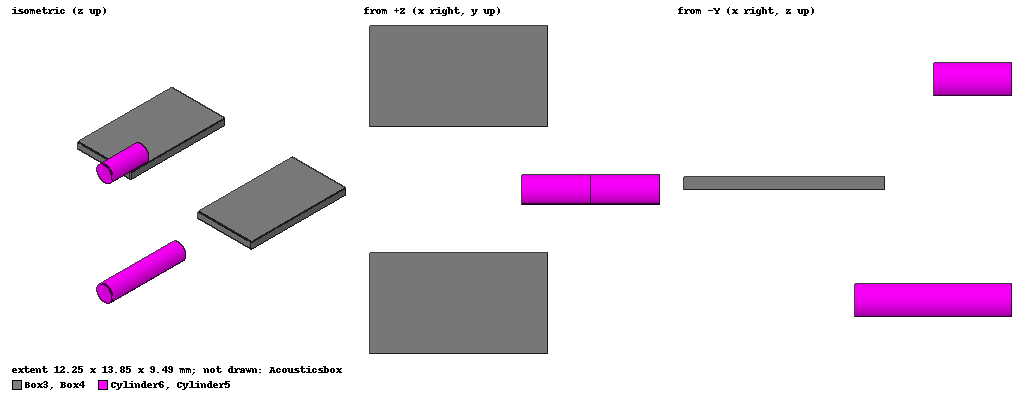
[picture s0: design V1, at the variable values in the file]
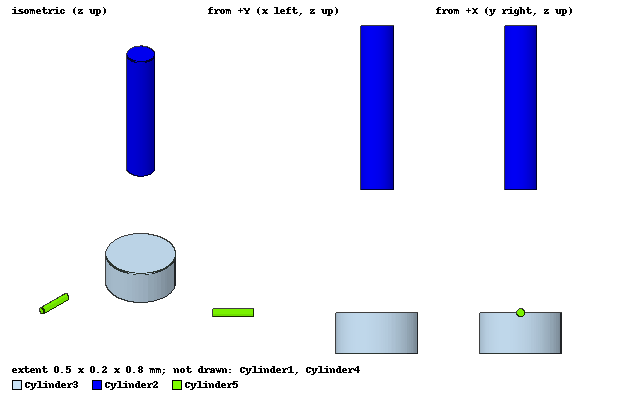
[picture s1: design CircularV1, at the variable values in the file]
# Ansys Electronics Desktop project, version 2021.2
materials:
  copper: permeability=0.999991 conductivity=58000000
  FR4_epoxy: permittivity=4.4 dielectric_loss_tangent=0.02
  vacuum: permittivity=1
  perfect conductor: conductivity=1e+30
  sapphire: permittivity=10
  quartz_glass: permittivity=3.78

design V1 (HFSS, Eigenmode, model units mm)
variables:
  Boxx = 5mm
  Boxy = 25mm
  Boxz = 16.5mm
  Cylh = 6mm
  Chipx = 8.6mm
  Chipy = 4.8mm
  Chiph = 0.5mm
  dispy = 0mm
  PadLen = 0.2mm
  PadWid = 0.1mm
  Padsep = 0.08mm
  JuncW = 0.005mm
  JuncL = 0.005mm
  LJ = 12.57nH
  QubitYoff = 4.8mm
  QubitXoff = 0mm
  QubitZoff = 0mm
  AcoustYoff = -4.8mm
  AcoustXoff = 0mm
  AcoustZoff = 0mm
  APadL = 0.2mm
  APadW = 0.1mm
  APadsep = 0.08mm
  SnailW = 0.005mm
  SnailArea = 0.02mm
  LJSnailS = 2.9nH
  LJSnailM = 2.4nH
  SnailOff = 0.012mm
  AcousticsC = 60fF
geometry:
  Cavity = box(corner=(-Boxx/2, -Boxy/2, -Boxz/2), size=(Boxx, Boxy, Boxz))
  Cylinder1 = cylinder(axis=Z, base_centre=(0, Boxy/2, -Boxz/2), radius=Boxx/2, height=Boxz)
  Cylinder2 = cylinder(axis=Z, base_centre=(0mm, -Boxy/2, -Boxz/2), radius=Boxx/2, height=Boxz)
  Cylinder3 = cylinder(axis=X, base_centre=(Boxx/2, 0mm, Boxz/4), radius=2.02mm, height=Cylh)
  Cylinder4 = cylinder(axis=X, base_centre=(Boxx/2, 0mm, -Boxz/4), radius=2.02mm, height=Cylh)
  Cavity.unite(Cylinder1..Cylinder4)
  Cylinder5 [perfect conductor] = cylinder(axis=X, base_centre=(Boxx/2+Cylh, 0mm, Boxz/4), radius=(1.24/2) mm, height=-2.9mm)
  Cylinder6 [perfect conductor] = cylinder(axis=X, base_centre=(Boxx/2+Cylh, 0mm, -Boxz/4), radius=(1.24/2) mm, height=-5.85mm)
  Qubitenclosure = box(corner=(-8.6mm/2, -4.8mm/2, 0.001mm-0.1mm), size=(8.6mm, 4.8mm, 0.6mm))
  Box3 [sapphire] = box(corner=(-7.5mm/2, -4.25mm/2, 0mm), size=(7.5mm, 4.25mm, 0.5mm))
  QubitPad1 = rectangle(corner=(Padsep/2, -PadWid/2, 0mm), x_size=PadLen, y_size=PadWid)
  QubitPad2 = rectangle(corner=(-Padsep/2, -PadWid/2, 0mm), x_size=-PadLen, y_size=PadWid)
  JunctionPad1 = rectangle(corner=(JuncL/2, -JuncW/2, 0mm), x_size=Padsep/2-JuncL/2, y_size=JuncW)
  JunctionPad2 = rectangle(corner=(-JuncL/2, -JuncW/2, 0mm), x_size=-Padsep/2+JuncL/2, y_size=JuncW)
  JunctionPad1.unite(QubitPad1)
  JunctionPad2.unite(QubitPad2)
  TransmonJJ = rectangle(corner=(0.0025mm, -0.0025mm, 0mm), x_size=-0.005mm, y_size=0.005mm)
  Qubitenclosure.move(QubitXoff, QubitYoff, QubitZoff)
  Qubitenclosure.unite(Cavity)
  [Box3, TransmonJJ, JunctionPad2, JunctionPad1].move(QubitXoff, QubitYoff, QubitZoff)
  Acousticsbox [vacuum] = box(corner=(-8.6mm/2, -4.8mm/2, 0.001mm-0.1mm), size=(8.6mm, 4.8mm, 0.6mm))
  Acousticsbox.move(AcoustXoff, AcoustYoff, AcoustZoff)
  Acousticsbox.unite(Qubitenclosure)
  Box4 [quartz_glass] = box(corner=(-7.5mm/2, -4.25mm/2, 0mm), size=(7.5mm, 4.25mm, 0.5mm))
  Box4.move(AcoustXoff, AcoustYoff, AcoustZoff)
  AcoustPad1 = rectangle(corner=(APadsep/2, -APadW/2, 0mm), x_size=APadL, y_size=APadW)
  AcoustPad1.move(AcoustXoff, AcoustYoff, AcoustZoff)
  AcoustPad2 = rectangle(corner=(-APadsep/2, -APadW/2, 0mm), x_size=-APadL, y_size=APadW)
  AcoustPad2.move(AcoustXoff, AcoustYoff, AcoustZoff)
  ASJCon1 = rectangle(corner=(SnailW/2, SnailOff-SnailArea/2, 0mm), x_size=APadsep/2-SnailW/2, y_size=SnailW)
  ASJCon1.move(AcoustXoff, AcoustYoff, AcoustZoff)
  ASJCon2 = rectangle(corner=(-SnailW/2, SnailOff-SnailArea/2, 0mm), x_size=-APadsep/2+SnailW/2, y_size=SnailW)
  ASJCon2.move(AcoustXoff, AcoustYoff, AcoustZoff)
  AMJCon1 = rectangle(corner=(5*SnailW/2, SnailOff+SnailArea/2, 0mm), x_size=APadsep/2-5*SnailW/2, y_size=SnailW)
  AMJCon1.move(AcoustXoff, AcoustYoff, AcoustZoff)
  AMJCon2 = rectangle(corner=(-5*SnailW/2, SnailOff+SnailArea/2, 0mm), x_size=-APadsep/2+5*SnailW/2, y_size=SnailW)
  AMJCon2.move(AcoustXoff, AcoustYoff, AcoustZoff)
  AcoustPad1.unite(AMJCon1, ASJCon1)
  AcoustPad2.unite(AMJCon2, ASJCon2)
  SnailSJJ = rectangle(corner=(SnailW/2, SnailOff-SnailArea/2, 0mm), x_size=-SnailW, y_size=SnailW)
  SnailSJJ.move(AcoustXoff, AcoustYoff, AcoustZoff)
  SnailMJJ1 = rectangle(corner=(SnailW/2, SnailOff+SnailArea/2, 0mm), x_size=-SnailW, y_size=SnailW)
  SnailMJJ1.move(AcoustXoff, AcoustYoff, AcoustZoff)
  SnailMJJ2 = rectangle(corner=(5*SnailW/2, SnailOff+SnailArea/2, 0mm), x_size=-SnailW, y_size=SnailW)
  SnailMJJ2.move(AcoustXoff, AcoustYoff, AcoustZoff)
  SnailMJJ3 = rectangle(corner=(-3*SnailW/2, SnailOff+SnailArea/2, 0mm), x_size=-SnailW, y_size=SnailW)
  SnailMJJ3.move(AcoustXoff, AcoustYoff, AcoustZoff)
  JJconnect = rectangle(corner=(SnailW/2, SnailOff+SnailArea/2, 0mm), x_size=SnailW, y_size=SnailW)
  JJconnect.move(AcoustXoff, AcoustYoff, AcoustZoff)
  JJconnect2 = rectangle(corner=(-SnailW/2, SnailOff+SnailArea/2, 0mm), x_size=-SnailW, y_size=SnailW)
  JJconnect2.move(AcoustXoff, AcoustYoff, AcoustZoff)
  AConnect1 = rectangle(corner=(SnailW/2, -APadW/2, 0mm), x_size=APadsep/2-SnailW/2, y_size=SnailW)
  AConnect1.move(AcoustXoff, AcoustYoff, AcoustZoff)
  AConnect2 = rectangle(corner=(-SnailW/2, -APadW/2, 0mm), x_size=-APadsep/2+SnailW/2, y_size=SnailW)
  AConnect2.move(AcoustXoff, AcoustYoff, AcoustZoff)
  AcoustPad1.unite(AConnect1)
  AcoustPad2.unite(AConnect2)
  Acoustics = rectangle(corner=(SnailW/2, -APadW/2, 0mm), x_size=-SnailW, y_size=SnailW)
  Acoustics.move(AcoustXoff, AcoustYoff, AcoustZoff)
  Polyline1 = polyline((0.0025mm, 0mm, 0mm) (-0.0025mm, 0mm, 0mm))
  Polyline1.move(QubitXoff, QubitYoff, QubitZoff)
  Polyline2 = polyline((SnailW/2, SnailW/2+SnailOff-SnailArea/2, 0mm) (-SnailW/2, SnailW/2+SnailOff-SnailArea/2, 0mm))
  Polyline2.move(AcoustXoff, AcoustYoff, AcoustZoff)
  Polyline3 = polyline((SnailW/2, SnailW/2+SnailOff+SnailArea/2, 0mm) (-SnailW/2, SnailW/2+SnailOff+SnailArea/2, 0mm))
  Polyline3.move(AcoustXoff, AcoustYoff, AcoustZoff)
  Polyline4 = polyline((3*SnailW/2, SnailW/2+SnailOff+SnailArea/2, 0mm) (5*SnailW/2, SnailW/2+SnailOff+SnailArea/2, 0mm))
  Polyline4.move(AcoustXoff, AcoustYoff, AcoustZoff)
  Polyline5 = polyline((-3*SnailW/2, SnailW/2+SnailOff+SnailArea/2, 0mm) (-5*SnailW/2, SnailW/2+SnailOff+SnailArea/2, 0mm))
  Polyline5.move(AcoustXoff, AcoustYoff, AcoustZoff)
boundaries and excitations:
  PerfE3: Perfect E Objects=JunctionPad1
  PerfE4: Perfect E Objects=JunctionPad2
  LumpRLC1: Lumped RLC Objects=TransmonJJ CurrentLine{middle of TransmonJJ.edge(x opposite corner) -> middle of TransmonJJ.edge(x at corner)} RLC_Type=Parallel Inductance=LJ
  AcousticPad1: Perfect E Objects=AcoustPad1
  AcousticPad2: Perfect E Objects=AcoustPad2
  LumpRLC2: Lumped RLC Objects=SnailSJJ CurrentLine{middle of SnailSJJ.edge(x opposite corner) -> middle of SnailSJJ.edge(x at corner)} RLC_Type=Parallel Inductance=LJSnailS
  LumpRLC3: Lumped RLC Objects=SnailMJJ1 CurrentLine{middle of SnailMJJ1.edge(x opposite corner) -> middle of SnailMJJ1.edge(x at corner)} RLC_Type=Parallel Inductance=LJSnailM
  LumpRLC4: Lumped RLC Objects=SnailMJJ2 CurrentLine{middle of SnailMJJ2.edge(x opposite corner) -> middle of SnailMJJ2.edge(x at corner)} RLC_Type=Parallel Inductance=LJSnailM
  LumpRLC5: Lumped RLC Objects=SnailMJJ3 CurrentLine{middle of SnailMJJ3.edge(x opposite corner) -> middle of SnailMJJ3.edge(x at corner)} RLC_Type=Parallel Inductance=LJSnailM
  AcousticPad3: Perfect E Objects=JJconnect
  AcousticPad4: Perfect E Objects=JJconnect2
  Acoustics: Lumped RLC Objects=Acoustics CurrentLine{middle of Acoustics.edge(x opposite corner) -> middle of Acoustics.edge(x at corner)} RLC_Type=Parallel Capacitance=AcousticsC
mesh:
  initial mesh: DynamicSurfaceResolution
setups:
  Setup1: HfssEigen MinimumFrequency=1GHz NumModes=5 MaxDeltaFreq=10 ConvergeOnRealFreq=false MaximumPasses=15 MinimumPasses=1 MinimumConvergedPasses=1 PercentRefinement=30 BasisOrder=1
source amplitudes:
  #-10:1: 1 0deg
  #-10:2..#-10:5: 0 0deg
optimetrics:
  ParametricSetup1: Parametric Sim._Setups=[Setup1]
    sweep Boxz: LINC 16.5mm 49.5mm 20
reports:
  Eigen Modes Plot 1: mag(Mode(1)), mag(Mode(2)), mag(Mode(3)), mag(Mode(4)), mag(Mode(5)) vs Boxz on Setup1 : LastAdaptive; markers m1 at 33mm
  Freq. vs. pass: re(Mode(1)), re(Mode(2)), re(Mode(3)), re(Mode(4)), re(Mode(5)) vs Pass on Setup1 : AdaptivePass

design CircularV1 (HFSS, DrivenModal, model units mm)
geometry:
  Cylinder1 [vacuum] = cylinder(axis=Z, base_centre=(0mm, 0mm, 0mm), radius=0.31622777mm, height=0.7mm)
  Cylinder2 [sapphire] = cylinder(axis=Z, base_centre=(0mm, 0mm, 0.4mm), radius=0.04mm, height=0.4mm)
  Cylinder3 [vacuum] = cylinder(axis=Z, base_centre=(0mm, 0mm, 0mm), radius=0.1mm, height=0.1mm)
  Cylinder4 [vacuum] = cylinder(axis=X, base_centre=(0.3mm, 0mm, 0.1mm), radius=0.05mm, height=0.1mm)
  Cylinder5 [perfect conductor] = cylinder(axis=X, base_centre=(0.3mm, 0mm, 0.1mm), radius=0.01mm, height=0.1mm)
